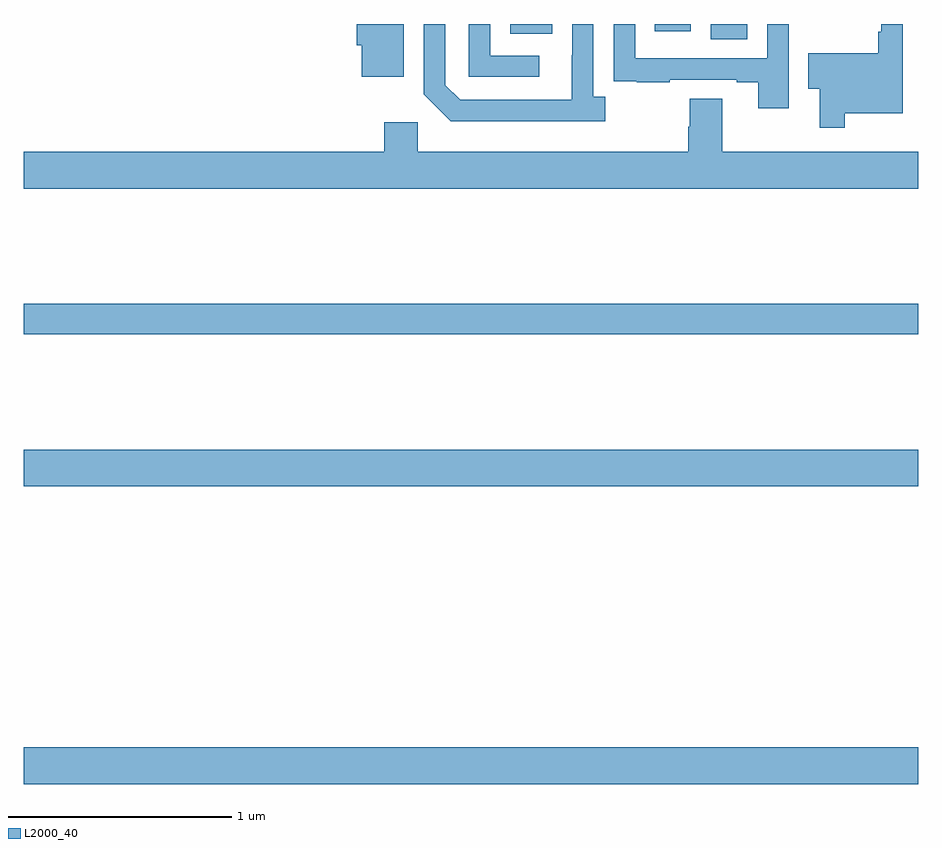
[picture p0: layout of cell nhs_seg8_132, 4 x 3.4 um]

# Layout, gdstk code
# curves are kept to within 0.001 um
import gdstk
lib = gdstk.Library(unit=1e-6, precision=1e-09)
def R(c, l, rs):  # rectangles x0, y0, x1, y1
    for r in rs: c.add(gdstk.rectangle(r[:2], r[2:], *l))
def P(c, l, *ps):  # polygons
    for p in ps: c.add(gdstk.Polygon(p, *l))
L2000_40 = (2000, 40)

nhs_seg8_132 = lib.new_cell('nhs_seg8_132')
R(nhs_seg8_132, L2000_40, [(119,1116.5,123,1116.664), (119,1117.832,123,1117.996), (119,1118.512,123,1118.648), (122.072,1119.832,122.236,1119.9), (121.175,1119.857,121.363,1119.9), (121.823,1119.867,121.984,1119.9)])
P(nhs_seg8_132, L2000_40, [(122.421,1119.9),(122.325,1119.9),(122.325,1119.747),(121.734,1119.747),(121.734,1119.9),(121.638,1119.9),(121.638,1119.754),(121.639,1119.754),(121.639,1119.645),(121.741,1119.645),(121.741,1119.639),(121.889,1119.639),(121.889,1119.651),(122.189,1119.651),(122.189,1119.639),(122.285,1119.639),(122.285,1119.522),(122.421,1119.522)],
  [(122.671,1119.5),(122.932,1119.5),(122.932,1119.9),(122.835,1119.9),(122.835,1119.865),(122.823,1119.865),(122.823,1119.769),(122.508,1119.769),(122.508,1119.611),(122.561,1119.611),(122.561,1119.435),(122.671,1119.435)],
  [(120.7,1119.9),(120.488,1119.9),(120.488,1119.804),(120.512,1119.804),(120.512,1119.665),(120.7,1119.665)],
  [(121.306,1119.759),(121.086,1119.759),(121.086,1119.9),(120.99,1119.9),(120.99,1119.663),(121.306,1119.663)],
  [(121.6,1119.574),(121.548,1119.574),(121.548,1119.9),(121.452,1119.9),(121.451,1119.561),(120.951,1119.561),(120.885,1119.627),(120.885,1119.9),(120.789,1119.9),(120.789,1119.585),(120.91,1119.464),(121.6,1119.464)],
  [(123,1119.328),(122.125,1119.328),(122.125,1119.566),(121.978,1119.566),(121.978,1119.441),(121.973,1119.441),(121.973,1119.328),(120.762,1119.328),(120.762,1119.46),(120.611,1119.46),(120.611,1119.328),(119,1119.328),(119,1119.164),(123,1119.164)])

lib.write_gds('nhs_seg8_132.gds')
